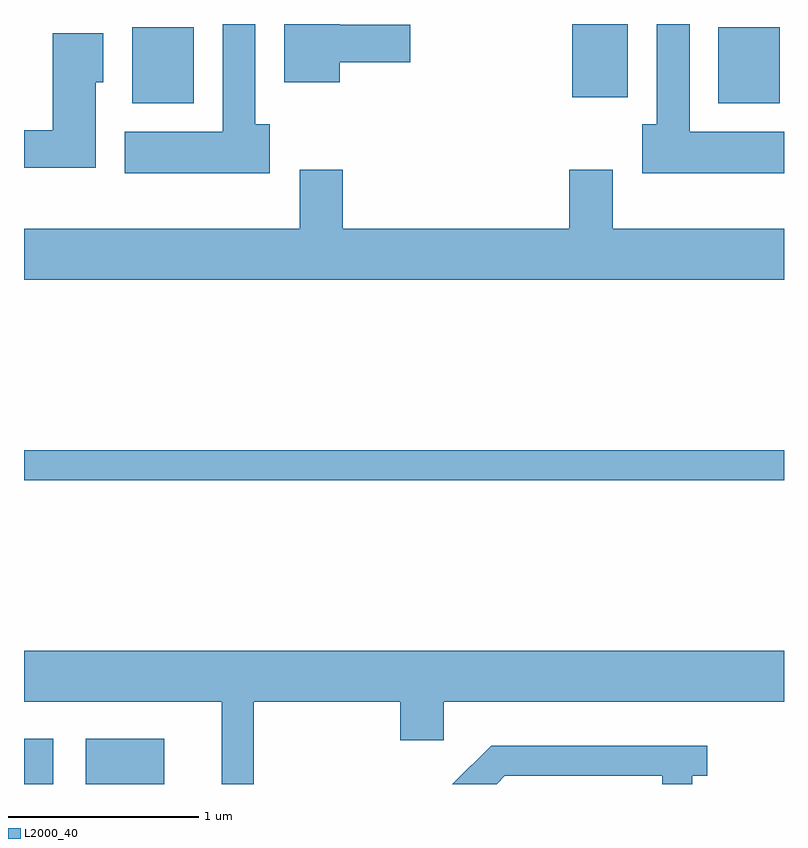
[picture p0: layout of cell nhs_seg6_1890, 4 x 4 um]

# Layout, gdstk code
import gdstk
lib = gdstk.Library(unit=1e-6, precision=1e-09)
def R(c, l, rs):  # rectangles x0, y0, x1, y1
    for r in rs: c.add(gdstk.rectangle(r[:2], r[2:], *l))
def P(c, l, *ps):  # polygons
    for p in ps: c.add(gdstk.Polygon(p, *l))
L2000_40 = (2000, 40)

nhs_seg6_1890 = lib.new_cell('nhs_seg6_1890')
R(nhs_seg6_1890, L2000_40, [(241.611,1656.162,241.764,1656.399), (241.936,1656.162,242.349,1656.399), (241.611,1657.761,245.611,1657.919), (242.181,1659.746,242.504,1660.144), (245.266,1659.746,245.589,1660.144), (244.496,1659.776,244.789,1660.162)])
P(nhs_seg6_1890, L2000_40, [(242.904,1659.634),(242.829,1659.634),(242.829,1660.162),(242.656,1660.162),(242.656,1659.594),(242.141,1659.594),(242.141,1659.376),(242.904,1659.376)],
  [(245.611,1659.594),(245.114,1659.594),(245.114,1660.162),(244.941,1660.162),(244.941,1659.634),(244.866,1659.634),(244.866,1659.376),(245.611,1659.376)],
  [(243.274,1659.961),(243.644,1659.961),(243.644,1660.159),(243.274,1660.159),(243.274,1660.162),(242.981,1660.162),(242.981,1659.856),(243.274,1659.856)],
  [(241.989,1659.856),(242.029,1659.856),(242.029,1660.114),(241.761,1660.114),(241.761,1659.604),(241.611,1659.604),(241.611,1659.406),(241.989,1659.406)],
  [(245.611,1659.084),(244.709,1659.084),(244.709,1659.394),(244.481,1659.394),(244.481,1659.084),(243.289,1659.084),(243.289,1659.394),(243.061,1659.394),(243.061,1659.084),(241.611,1659.084),(241.611,1658.816),(245.611,1658.816)],
  [(242.819,1656.596),(243.591,1656.596),(243.591,1656.391),(243.819,1656.391),(243.819,1656.596),(245.611,1656.596),(245.611,1656.864),(241.611,1656.864),(241.611,1656.596),(242.651,1656.596),(242.651,1656.162),(242.819,1656.162)],
  [(244.142,1656.206),(244.971,1656.206),(244.971,1656.162),(245.129,1656.162),(245.129,1656.206),(245.208,1656.206),(245.208,1656.364),(244.069,1656.364),(243.866,1656.162),(244.098,1656.162)])

lib.write_gds('nhs_seg6_1890.gds')
